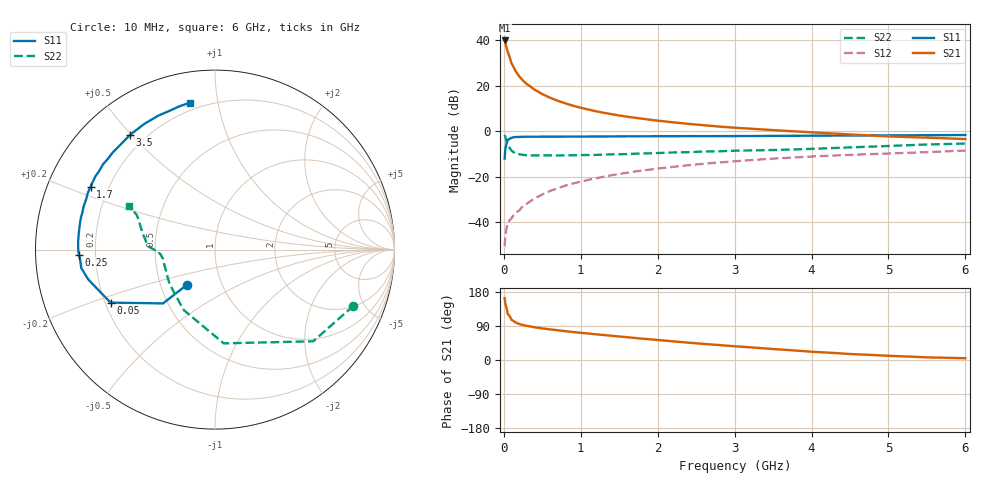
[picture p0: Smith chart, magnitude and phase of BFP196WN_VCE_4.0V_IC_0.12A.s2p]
! Infineon Technologies  Discrete & RF Semiconductors
! BFP196WN
! VCE =  4.0 V,  IC = 0.12 A
! Common Emitter S-Parameters:  Jan 2017
# GHz  S  MA  R  50
!  f  S11  S21  S12  S22
! GHz  MAG  ANG  MAG  ANG  MAG  ANG  MAG  ANG
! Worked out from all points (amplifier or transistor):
!   77 points, 10 MHz to 6 GHz, reference 50 ohm
!   highest |S21| = 39.9 dB at 10 MHz (marker M1)
!   |S21| within 3 dB of that: start of sweep to 34.01 MHz
!   unconditionally stable (mu >= 1): 376.9 MHz to 2.641 GHz
!   at 130 MHz: K = 0.76, MSG = 32.4 dB, |S12| = -36.7 dB
!   at 2.2 GHz: K = 1.02, MAG = 8.9 dB, |S12| = -15.6 dB
!   at 6 GHz: K = 0.92, MSG = 2.5 dB, |S12| = -8.5 dB
!   S11 on the Smith chart (normalised r, x): 10 MHz: 0.68, -0.29; 50 MHz: 0.22, -0.23; 250 MHz: 0.14, -0.02; 1.7 GHz: 0.13, +0.23; 3.5 GHz: 0.14, +0.50; 6 GHz: 0.16, +0.83
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0.01  0.2515 -128.6  99.21 163.2  0.003 75.0  0.8324 -22.1
0.02  0.417 -134.0  86.45 147.5  0.0051 67.3  0.7487 -43.0
0.05  0.6526 -153.1  55.42 121.4  0.0099 51.4  0.5246 -84.7
0.1  0.7252 -166.7  31.04 105.8  0.0123 56.9  0.3792 -117.3
0.15  0.752 -172.1  21.39 99.2  0.0161 59.9  0.3291 -134.4
0.2  0.7535 -175.8  16.17 95.0  0.0183 65.2  0.3146 -144.3
0.25  0.7597 -177.9  13 92.2  0.0228 66.1  0.3049 -150.2
0.3  0.762 -179.9  10.88 90.0  0.0258 68.1  0.298 -155.5
0.4  0.7635 177.0  8.204 86.2  0.0334 72.4  0.2951 -161.0
0.5  0.7641 174.6  6.563 83.4  0.0411 72.6  0.2953 -164.8
0.6  0.7644 172.3  5.487 80.8  0.049 72.7  0.2966 -167.8
0.7  0.7657 170.3  4.698 78.5  0.0558 73.5  0.2947 -169.8
0.9  0.7682 166.3  3.652 73.8  0.0716 73.1  0.299 -172.2
1.1  0.7691 162.9  3.005 69.8  0.0861 72.2  0.3023 -174.6
1.3  0.7701 159.7  2.552 65.9  0.1009 70.8  0.3078 -175.5
1.7  0.7763 153.2  1.992 58.2  0.131 68.1  0.3221 -178.1
2.1  0.7804 147.2  1.646 51.0  0.1589 64.8  0.3383 -179.9
3.1  0.7867 132.3  1.172 34.9  0.2259 55.7  0.378 175.5
3.5  0.7956 126.4  1.064 28.9  0.2515 52.3  0.3883 172.8
4.1  0.8042 118.0  0.931 20.7  0.2844 46.7  0.4179 166.2
5.1  0.8152 107.3  0.764 10.3  0.3304 38.7  0.484 155.7
6  0.8308 99.5  0.678 4.6  0.3777 32.5  0.5386 153.4
